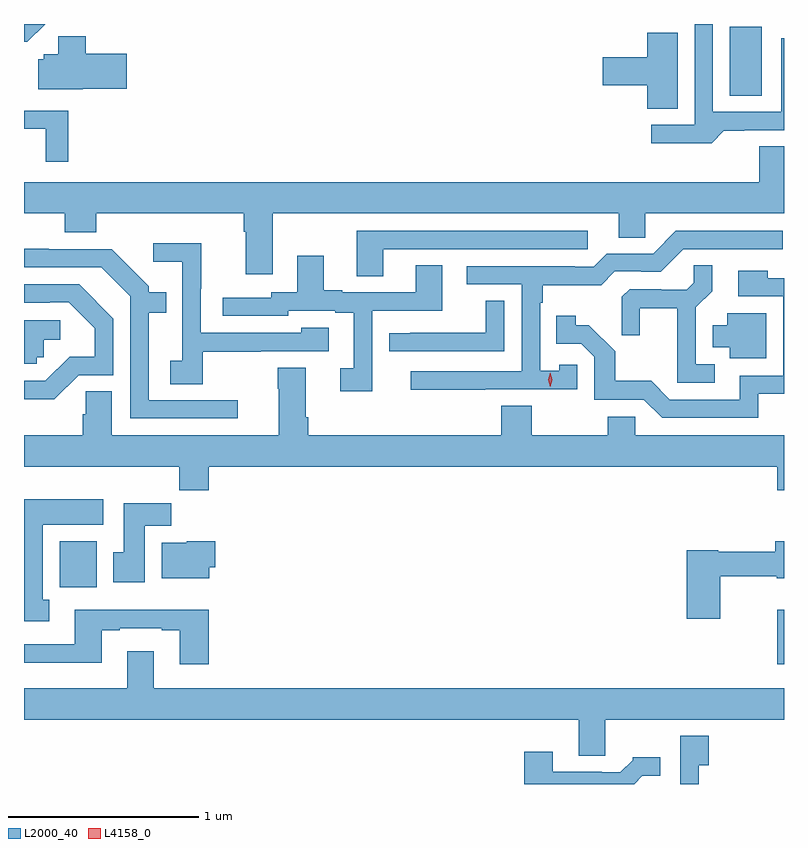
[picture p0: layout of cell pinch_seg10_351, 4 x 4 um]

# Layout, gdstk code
import gdstk
lib = gdstk.Library(unit=1e-6, precision=1e-09)
def R(c, l, rs):  # rectangles x0, y0, x1, y1
    for r in rs: c.add(gdstk.rectangle(r[:2], r[2:], *l))
def P(c, l, *ps):  # polygons
    for p in ps: c.add(gdstk.Polygon(p, *l))
L2000_40 = (2000, 40)
L4158_0 = (4158, 0)

pinch_seg10_351 = lib.new_cell('pinch_seg10_351')
R(pinch_seg10_351, L2000_40, [(510.353,1249.992,510.389,1250.278), (506.576,1250.396,506.773,1250.638), (510.104,1252.984,510.271,1253.347)])
P(pinch_seg10_351, L2000_40, [(506.502,1253.361),(506.389,1253.361),(506.389,1253.267),(506.407,1253.267)],
  [(510.073,1252.798),(510.181,1252.798),(510.181,1252.803),(510.389,1252.803),(510.389,1253.287),(510.375,1253.287),(510.375,1252.899),(510.015,1252.899),(510.015,1253.361),(509.919,1253.361),(509.919,1252.83),(509.691,1252.83),(509.691,1252.733),(510.008,1252.733)],
  [(509.83,1253.314),(509.669,1253.314),(509.669,1253.186),(509.436,1253.186),(509.436,1253.039),(509.669,1253.039),(509.669,1252.915),(509.83,1252.915)],
  [(506.697,1253.021),(506.929,1253.021),(506.929,1253.204),(506.714,1253.204),(506.714,1253.296),(506.568,1253.296),(506.568,1253.202),(506.493,1253.202),(506.493,1253.175),(506.465,1253.175),(506.465,1253.018),(506.697,1253.018)],
  [(506.621,1252.905),(506.389,1252.905),(506.389,1252.809),(506.504,1252.809),(506.504,1252.635),(506.621,1252.635)],
  [(507.697,1252.364),(509.519,1252.364),(509.519,1252.237),(509.658,1252.237),(509.658,1252.364),(510.389,1252.364),(510.389,1252.718),(510.26,1252.718),(510.26,1252.528),(506.389,1252.528),(506.389,1252.364),(506.603,1252.364),(506.603,1252.265),(506.768,1252.265),(506.768,1252.364),(507.545,1252.364),(507.545,1252.268),(507.557,1252.268),(507.557,1252.044),(507.697,1252.044)],
  [(508.279,1252.176),(509.356,1252.176),(509.356,1252.272),(508.139,1252.272),(508.139,1252.033),(508.279,1252.033)],
  [(508.817,1251.438),(509.301,1251.438),(509.301,1251.567),(509.205,1251.567),(509.205,1251.535),(509.106,1251.535),(509.106,1251.893),(509.119,1251.893),(509.119,1251.986),(509.426,1251.986),(509.499,1252.059),(509.638,1252.059),(509.638,1252.056),(509.739,1252.056),(509.859,1252.176),(510.382,1252.176),(510.382,1252.272),(509.82,1252.272),(509.7,1252.152),(509.457,1252.152),(509.388,1252.083),(509.288,1252.083),(509.288,1252.086),(508.719,1252.086),(508.719,1251.99),(509.01,1251.99),(509.01,1251.534),(508.425,1251.534),(508.425,1251.436),(508.817,1251.436)],
  [(507.331,1251.637),(507.635,1251.637),(507.635,1251.639),(507.994,1251.639),(507.994,1251.763),(507.849,1251.763),(507.849,1251.735),(507.318,1251.735),(507.318,1251.968),(507.321,1251.968),(507.321,1252.207),(507.069,1252.207),(507.069,1252.109),(507.222,1252.109),(507.222,1251.588),(507.159,1251.588),(507.159,1251.466),(507.331,1251.466)],
  [(507.514,1251.381),(507.046,1251.381),(507.046,1251.84),(507.137,1251.84),(507.137,1251.949),(507.045,1251.949),(507.045,1251.981),(506.85,1252.176),(506.519,1252.176),(506.519,1252.178),(506.389,1252.178),(506.389,1252.08),(506.796,1252.08),(506.949,1251.927),(506.949,1251.285),(507.514,1251.285)],
  [(508.221,1251.852),(508.591,1251.852),(508.591,1252.091),(508.451,1252.091),(508.451,1251.948),(508.063,1251.948),(508.063,1251.961),(507.967,1251.961),(507.967,1252.141),(507.827,1252.141),(507.827,1251.948),(507.69,1251.948),(507.69,1251.921),(507.435,1251.921),(507.435,1251.825),(507.78,1251.825),(507.78,1251.852),(508.028,1251.852),(508.028,1251.84),(508.124,1251.84),(508.124,1251.549),(508.053,1251.549),(508.053,1251.429),(508.221,1251.429)],
  [(510.025,1251.57),(509.925,1251.57),(509.925,1251.869),(510.011,1251.955),(510.011,1252.091),(509.913,1252.091),(509.913,1252),(509.876,1251.963),(509.742,1251.963),(509.742,1251.966),(509.577,1251.966),(509.536,1251.925),(509.536,1251.723),(509.63,1251.723),(509.63,1251.866),(509.828,1251.866),(509.828,1251.474),(510.025,1251.474)],
  [(510.254,1251.414),(510.389,1251.414),(510.389,1252.023),(510.303,1252.023),(510.303,1252.063),(510.147,1252.063),(510.147,1251.927),(510.384,1251.927),(510.384,1251.51),(510.155,1251.51),(510.155,1251.384),(509.787,1251.384),(509.689,1251.483),(509.5,1251.483),(509.5,1251.638),(509.362,1251.776),(509.292,1251.776),(509.292,1251.826),(509.191,1251.826),(509.191,1251.678),(509.322,1251.678),(509.391,1251.609),(509.391,1251.384),(509.652,1251.384),(509.748,1251.288),(510.254,1251.288)],
  [(506.676,1251.513),(506.859,1251.513),(506.859,1251.811),(506.68,1251.99),(506.389,1251.99),(506.389,1251.894),(506.525,1251.894),(506.525,1251.897),(506.625,1251.897),(506.762,1251.76),(506.762,1251.61),(506.629,1251.61),(506.502,1251.483),(506.389,1251.483),(506.389,1251.386),(506.548,1251.386)],
  [(508.917,1251.905),(508.819,1251.905),(508.819,1251.735),(508.423,1251.735),(508.423,1251.734),(508.311,1251.734),(508.311,1251.639),(508.917,1251.639)],
  [(510.295,1251.838),(510.089,1251.838),(510.089,1251.775),(510.014,1251.775),(510.014,1251.659),(510.104,1251.659),(510.104,1251.602),(510.295,1251.602)],
  [(506.457,1251.606),(506.493,1251.606),(506.493,1251.698),(506.581,1251.698),(506.581,1251.801),(506.389,1251.801),(506.389,1251.573),(506.457,1251.573)],
  [(507.362,1251.032),(510.353,1251.032),(510.353,1250.908),(510.389,1250.908),(510.389,1251.196),(509.607,1251.196),(509.607,1251.294),(509.461,1251.294),(509.461,1251.196),(509.061,1251.196),(509.061,1251.353),(508.901,1251.353),(508.901,1251.196),(507.884,1251.196),(507.884,1251.292),(507.871,1251.292),(507.871,1251.553),(507.724,1251.553),(507.724,1251.44),(507.731,1251.44),(507.731,1251.196),(506.851,1251.196),(506.851,1251.428),(506.713,1251.428),(506.713,1251.306),(506.699,1251.306),(506.699,1251.196),(506.389,1251.196),(506.389,1251.032),(507.205,1251.032),(507.205,1250.908),(507.362,1250.908)],
  [(506.521,1250.33),(506.488,1250.33),(506.488,1250.726),(506.806,1250.726),(506.806,1250.86),(506.389,1250.86),(506.389,1250.217),(506.521,1250.217)],
  [(507.025,1250.72),(507.164,1250.72),(507.164,1250.839),(506.915,1250.839),(506.915,1250.58),(506.858,1250.58),(506.858,1250.424),(507.025,1250.424)],
  [(507.364,1250.502),(507.395,1250.502),(507.395,1250.638),(507.246,1250.638),(507.246,1250.632),(507.113,1250.632),(507.113,1250.444),(507.364,1250.444)],
  [(510.054,1250.455),(510.35,1250.455),(510.35,1250.444),(510.389,1250.444),(510.389,1250.638),(510.343,1250.638),(510.343,1250.584),(510.042,1250.584),(510.042,1250.592),(509.876,1250.592),(509.876,1250.232),(510.054,1250.232)],
  [(507.362,1250.278),(506.657,1250.278),(506.657,1250.097),(506.389,1250.097),(506.389,1250),(506.797,1250),(506.797,1250.169),(506.893,1250.169),(506.893,1250.181),(507.113,1250.181),(507.113,1250.169),(507.209,1250.169),(507.209,1249.992),(507.362,1249.992)],
  [(509.449,1249.7),(510.389,1249.7),(510.389,1249.864),(507.073,1249.864),(507.073,1250.059),(506.933,1250.059),(506.933,1249.864),(506.389,1249.864),(506.389,1249.7),(509.309,1249.7),(509.309,1249.51),(509.449,1249.51)],
  [(509.94,1249.459),(509.993,1249.459),(509.993,1249.615),(509.844,1249.615),(509.844,1249.361),(509.94,1249.361)],
  [(509.643,1249.404),(509.737,1249.404),(509.737,1249.501),(509.592,1249.501),(509.592,1249.486),(509.528,1249.422),(509.429,1249.422),(509.429,1249.425),(509.173,1249.425),(509.173,1249.531),(509.021,1249.531),(509.021,1249.361),(509.6,1249.361)])
P(pinch_seg10_351, L4158_0, [(509.159,1251.453),(509.159,1251.453),(509.149,1251.489),(509.159,1251.525),(509.159,1251.525),(509.159,1251.525),(509.169,1251.489),(509.159,1251.453)])

lib.write_gds('pinch_seg10_351.gds')
